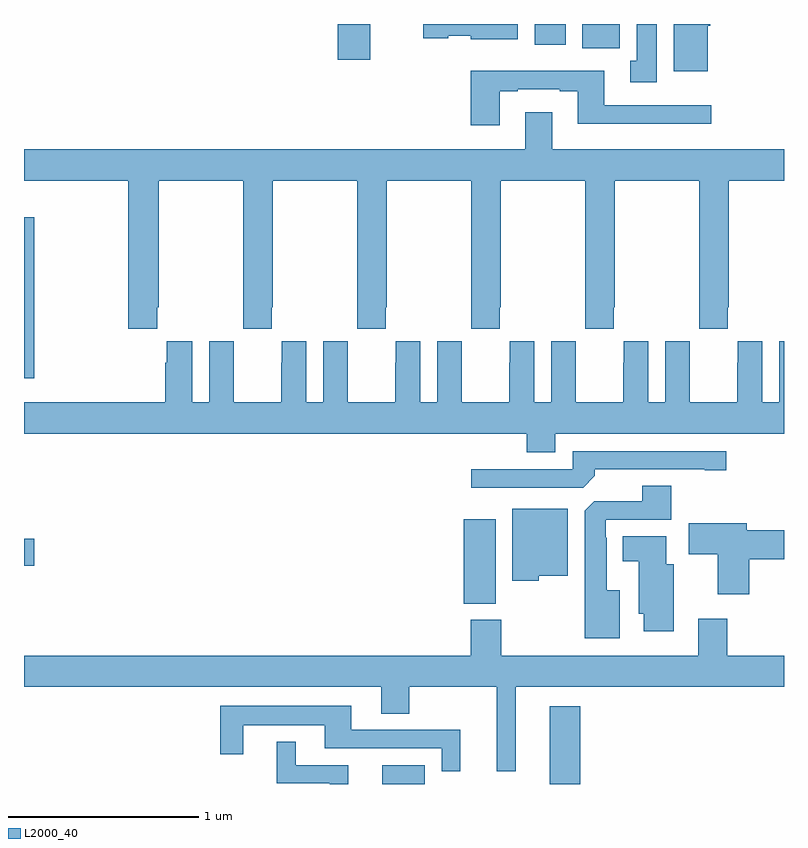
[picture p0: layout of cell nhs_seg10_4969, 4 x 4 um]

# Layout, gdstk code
import gdstk
lib = gdstk.Library(unit=1e-6, precision=1e-09)
def R(c, l, rs):  # rectangles x0, y0, x1, y1
    for r in rs: c.add(gdstk.rectangle(r[:2], r[2:], *l))
def P(c, l, *ps):  # polygons
    for p in ps: c.add(gdstk.Polygon(p, *l))
L2000_40 = (2000, 40)

nhs_seg10_4969 = lib.new_cell('nhs_seg10_4969')
R(nhs_seg10_4969, L2000_40, [(400.886,1270.5,401.11,1270.6), (401.768,1270.5,401.927,1270.909), (401.315,1271.449,401.482,1271.893), (399,1271.65,399.055,1271.792), (399,1272.636,399.053,1273.483), (400.652,1274.313,400.822,1274.5), (401.939,1274.372,402.136,1274.5), (401.687,1274.39,401.851,1274.5)])
P(nhs_seg10_4969, L2000_40, [(401.599,1274.5),(401.1,1274.5),(401.1,1274.426),(401.232,1274.426),(401.232,1274.438),(401.352,1274.438),(401.352,1274.42),(401.599,1274.42)],
  [(402.598,1274.492),(402.611,1274.492),(402.611,1274.5),(402.419,1274.5),(402.419,1274.252),(402.598,1274.252)],
  [(402.331,1274.5),(402.224,1274.5),(402.224,1274.306),(402.191,1274.306),(402.191,1274.193),(402.331,1274.193)],
  [(401.503,1274.145),(401.599,1274.145),(401.599,1274.157),(401.819,1274.157),(401.819,1274.145),(401.915,1274.145),(401.915,1273.976),(402.616,1273.976),(402.616,1274.073),(402.055,1274.073),(402.055,1274.254),(401.351,1274.254),(401.351,1273.968),(401.503,1273.968)],
  [(399,1273.676),(399.548,1273.676),(399.548,1272.897),(399.701,1272.897),(399.701,1273.009),(399.708,1273.009),(399.708,1273.676),(400.153,1273.676),(400.153,1273.009),(400.155,1273.009),(400.155,1272.897),(400.305,1272.897),(400.305,1273.009),(400.308,1273.009),(400.308,1273.676),(400.753,1273.676),(400.753,1273.009),(400.755,1273.009),(400.755,1272.897),(400.905,1272.897),(400.905,1273.009),(400.908,1273.009),(400.908,1273.676),(401.353,1273.676),(401.353,1273.009),(401.355,1273.009),(401.355,1272.897),(401.505,1272.897),(401.505,1273.009),(401.508,1273.009),(401.508,1273.676),(401.953,1273.676),(401.953,1273.009),(401.955,1273.009),(401.955,1272.897),(402.105,1272.897),(402.105,1273.009),(402.108,1273.009),(402.108,1273.676),(402.553,1273.676),(402.553,1273.009),(402.555,1273.009),(402.555,1272.897),(402.705,1272.897),(402.705,1273.009),(402.708,1273.009),(402.708,1273.676),(403,1273.676),(403,1273.84),(401.779,1273.84),(401.779,1274.035),(401.639,1274.035),(401.639,1273.84),(399,1273.84)],
  [(403,1272.829),(402.974,1272.829),(402.974,1272.508),(402.886,1272.508),(402.886,1272.829),(402.756,1272.829),(402.756,1272.716),(402.755,1272.716),(402.755,1272.508),(402.505,1272.508),(402.505,1272.716),(402.504,1272.716),(402.504,1272.829),(402.374,1272.829),(402.374,1272.508),(402.286,1272.508),(402.286,1272.829),(402.156,1272.829),(402.156,1272.716),(402.155,1272.716),(402.155,1272.508),(401.905,1272.508),(401.905,1272.716),(401.904,1272.716),(401.904,1272.829),(401.774,1272.829),(401.774,1272.508),(401.686,1272.508),(401.686,1272.829),(401.556,1272.829),(401.556,1272.716),(401.555,1272.716),(401.555,1272.508),(401.305,1272.508),(401.305,1272.716),(401.304,1272.716),(401.304,1272.829),(401.174,1272.829),(401.174,1272.508),(401.086,1272.508),(401.086,1272.829),(400.956,1272.829),(400.956,1272.716),(400.955,1272.716),(400.955,1272.508),(400.705,1272.508),(400.705,1272.716),(400.704,1272.716),(400.704,1272.829),(400.574,1272.829),(400.574,1272.508),(400.486,1272.508),(400.486,1272.829),(400.356,1272.829),(400.356,1272.716),(400.355,1272.716),(400.355,1272.508),(400.105,1272.508),(400.105,1272.716),(400.104,1272.716),(400.104,1272.829),(399.974,1272.829),(399.974,1272.508),(399.886,1272.508),(399.886,1272.829),(399.752,1272.829),(399.752,1272.716),(399.743,1272.716),(399.743,1272.508),(399,1272.508),(399,1272.344),(401.645,1272.344),(401.645,1272.245),(401.797,1272.245),(401.797,1272.344),(403,1272.344)],
  [(402.005,1272.122),(402.005,1272.156),(402.584,1272.156),(402.584,1272.151),(402.697,1272.151),(402.697,1272.252),(401.889,1272.252),(401.889,1272.156),(401.355,1272.156),(401.355,1272.06),(401.943,1272.06)],
  [(402.136,1271.521),(402.067,1271.521),(402.067,1271.795),(402.063,1271.795),(402.063,1271.892),(402.407,1271.892),(402.407,1272.071),(402.254,1272.071),(402.254,1271.988),(402,1271.988),(401.951,1271.939),(401.951,1271.267),(402.136,1271.267)],
  [(401.709,1271.597),(401.863,1271.597),(401.863,1271.95),(401.57,1271.95),(401.57,1271.57),(401.709,1271.57)],
  [(402.818,1271.684),(403,1271.684),(403,1271.836),(402.805,1271.836),(402.805,1271.872),(402.498,1271.872),(402.498,1271.71),(402.65,1271.71),(402.65,1271.499),(402.818,1271.499)],
  [(402.421,1271.656),(402.379,1271.656),(402.379,1271.803),(402.152,1271.803),(402.152,1271.672),(402.236,1271.672),(402.236,1271.397),(402.263,1271.397),(402.263,1271.304),(402.421,1271.304)],
  [(401.588,1271.012),(403,1271.012),(403,1271.176),(402.701,1271.176),(402.701,1271.371),(402.548,1271.371),(402.548,1271.176),(401.511,1271.176),(401.511,1271.364),(401.351,1271.364),(401.351,1271.176),(399,1271.176),(399,1271.012),(400.88,1271.012),(400.88,1270.87),(401.028,1270.87),(401.028,1271.012),(401.489,1271.012),(401.489,1270.566),(401.588,1270.566)],
  [(401.297,1270.785),(400.723,1270.785),(400.723,1270.912),(400.032,1270.912),(400.032,1270.656),(400.153,1270.656),(400.153,1270.808),(400.583,1270.808),(400.583,1270.689),(401.199,1270.689),(401.199,1270.566),(401.297,1270.566)],
  [(400.706,1270.599),(400.429,1270.599),(400.429,1270.723),(400.331,1270.723),(400.331,1270.503),(400.608,1270.503),(400.608,1270.5),(400.706,1270.5)])

lib.write_gds('nhs_seg10_4969.gds')
